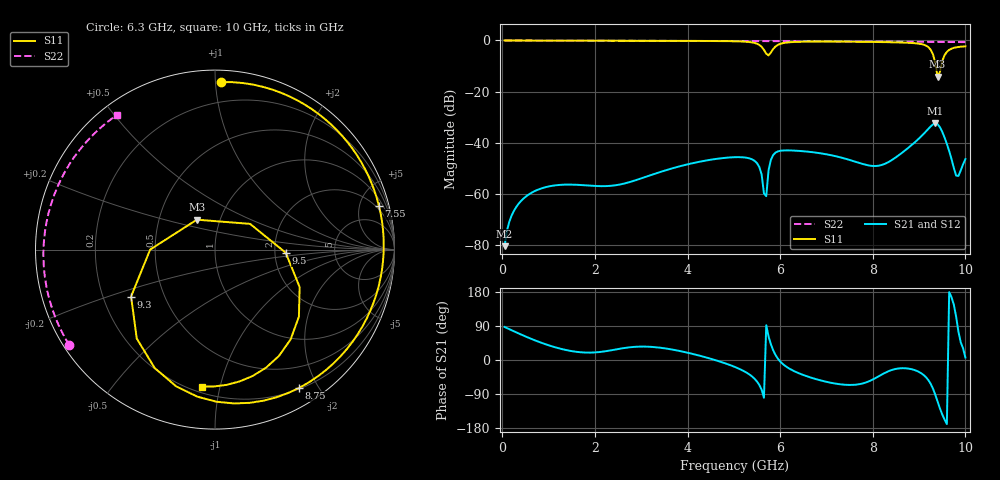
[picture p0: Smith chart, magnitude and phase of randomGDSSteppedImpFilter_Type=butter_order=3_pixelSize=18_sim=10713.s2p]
! freq	dB(S11)	phase(S11)	dB(S12)	phase(S12)
!  dB(S21)	phase(S21)	dB(S22)	phase(S22)
!S-par simulation data
#  GHz  S  DB  R 50
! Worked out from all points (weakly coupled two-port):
!   200 points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, 50 MHz to 10 GHz, reference 50 ohm
!   highest |S21| = -32.46 dB at 9.35 GHz (marker M1); lowest = -80.5 dB at 50 MHz (marker M2)
!   lowest |S11| = -14.2 dB at 9.4 GHz (marker M3), VSWR 1.48, Z = 38.8 + j13.4 ohm
!   |S11| at or under -10 dB: 9.361 GHz to 9.477 GHz (116.5 MHz wide, 1.24 % of centre)
!   |S22| runs from -0.7 to 0.0 dB; largest |S21 - S12| = 0
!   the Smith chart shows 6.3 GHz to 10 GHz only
!   S11 on the Smith chart (normalised r, x): 6.3 GHz: 0.07, +1.03; 7.55 GHz: 1.58, +7.27; 8.75 GHz: 0.21, -1.76; 9.3 GHz: 0.32, -0.24; 9.5 GHz: 2.30, -0.09; 10 GHz: 0.24, -0.88
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0.05  -0.00 -4.5  -80.46 87.1  -80.46 87.1  -0.00 -1.3
0.5  -0.05 -43.4  -61.19 62.2  -61.19 62.2  -0.02 -13.0
1.75  -0.11 -126.9  -56.61 19.9  -56.61 19.9  -0.06 -44.9
3.4  -0.14 162.3  -51.52 32.5  -51.52 32.5  -0.11 -84.2
5.05  -0.33 90.5  -45.64 -19.7  -45.64 -19.7  -0.18 -120.4
5.4  -0.78 58.3  -46.56 -44.2  -46.56 -44.2  -0.20 -127.9
5.6  -2.48 9.4  -52.41 -78.2  -52.41 -78.2  -0.21 -132.1
5.7  -5.20 -55.3  -60.91 91.8  -60.91 91.8  -0.22 -134.2
5.75  -5.83 -106.4  -50.69 61.8  -50.69 61.8  -0.22 -135.2
5.9  -2.36 152.1  -43.86 13.1  -43.86 13.1  -0.23 -138.4
6.3  -0.59 87.9  -43.08 -29.3  -43.08 -29.3  -0.26 -146.8
6.7  -0.45 61.0  -43.71 -47.8  -43.71 -47.8  -0.29 -155.3
7.55  -0.49 15.0  -47.01 -65.8  -47.01 -65.8  -0.37 -173.7
8.35  -0.68 -30.6  -47.45 -29.1  -47.45 -29.1  -0.45 168.1
8.75  -0.90 -58.6  -42.26 -22.3  -42.26 -22.3  -0.49 158.6
9.1  -1.67 -96.9  -36.52 -39.8  -36.52 -39.8  -0.54 149.9
9.3  -5.42 -150.8  -32.83 -75.6  -32.83 -75.6  -0.56 144.8
9.35  -8.84 180.0  -32.46 -91.5  -32.46 -91.5  -0.57 143.5
9.4  -14.19 121.3  -32.78 -109.7  -32.78 -109.7  -0.58 142.2
9.5  -8.08 -2.5  -35.73 -143.7  -35.73 -143.7  -0.59 139.5
9.8  -2.68 -73.4  -52.86 114.3  -52.86 114.3  -0.63 131.5
10  -2.31 -95.2  -46.40 6.5  -46.40 6.5  -0.65 125.9
